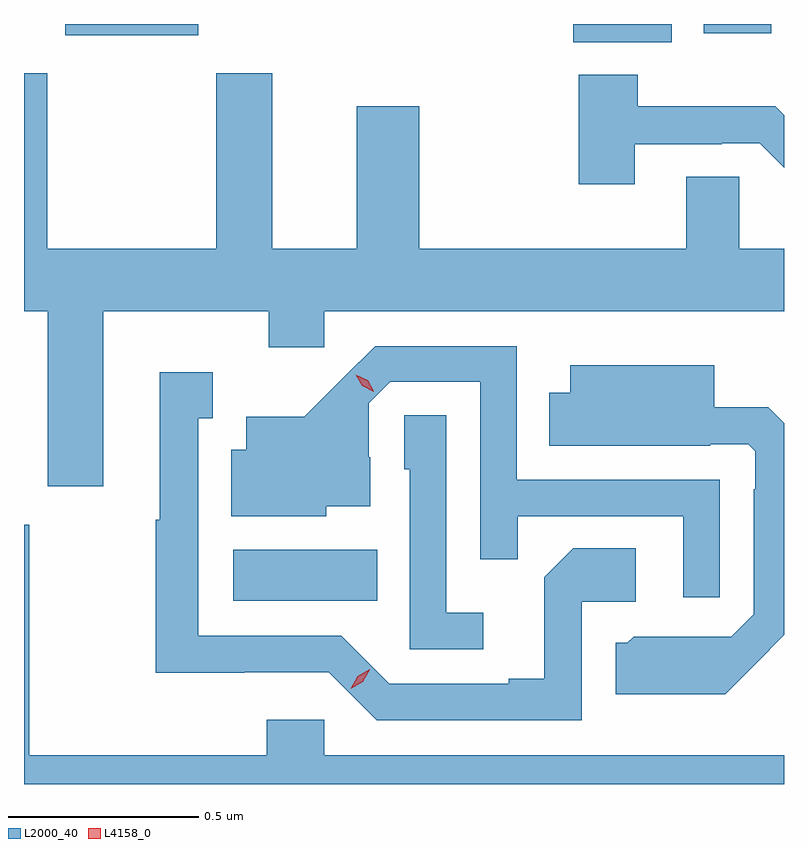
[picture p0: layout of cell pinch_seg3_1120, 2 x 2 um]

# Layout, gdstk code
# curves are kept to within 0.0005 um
import gdstk
lib = gdstk.Library(unit=1e-6, precision=1e-09)
def R(c, l, rs):  # rectangles x0, y0, x1, y1
    for r in rs: c.add(gdstk.rectangle(r[:2], r[2:], *l))
def P(c, l, *ps):  # polygons
    for p in ps: c.add(gdstk.Polygon(p, *l))
L2000_40 = (2000, 40)
L4158_0 = (4158, 0)

pinch_seg3_1120 = lib.new_cell('pinch_seg3_1120')
R(pinch_seg3_1120, L2000_40, [(332.514,697.49,332.894,697.624), (333.41,698.96,333.668,699.008), (332.072,698.978,332.422,699.008), (333.753,698.984,333.931,699.008)])
P(pinch_seg3_1120, L2000_40, [(332.173,698.252),(332.608,698.252),(332.608,698.157),(332.754,698.157),(332.754,698.252),(333.964,698.252),(333.964,698.416),(333.846,698.416),(333.846,698.606),(333.707,698.606),(333.707,698.416),(333.004,698.416),(333.004,698.791),(332.84,698.791),(332.84,698.416),(332.617,698.416),(332.617,698.878),(332.47,698.878),(332.47,698.416),(332.025,698.416),(332.025,698.878),(331.964,698.878),(331.964,698.252),(332.026,698.252),(332.026,697.791),(332.173,697.791)],
  [(333.571,698.691),(333.8,698.691),(333.8,698.694),(333.9,698.694),(333.964,698.63),(333.964,698.768),(333.941,698.791),(333.579,698.791),(333.579,698.875),(333.424,698.875),(333.424,698.586),(333.571,698.586)],
  [(333.795,697.809),(333.261,697.809),(333.261,698.16),(332.888,698.16),(332.701,697.975),(332.549,697.975),(332.549,697.888),(332.51,697.888),(332.51,697.712),(332.76,697.712),(332.76,697.739),(332.875,697.739),(332.875,697.868),(332.871,697.868),(332.871,698.01),(332.928,698.067),(333.165,698.067),(333.165,697.6),(333.263,697.6),(333.263,697.713),(333.699,697.713),(333.699,697.5),(333.795,697.5)],
  [(333.889,697.325),(333.964,697.401),(333.964,697.957),(333.922,697.999),(333.781,697.999),(333.781,698.11),(333.401,698.11),(333.401,698.038),(333.346,698.038),(333.346,697.898),(333.77,697.898),(333.77,697.902),(333.87,697.902),(333.888,697.884),(333.888,697.784),(333.885,697.784),(333.885,697.455),(333.825,697.395),(333.702,697.395),(333.702,697.396),(333.568,697.396),(333.552,697.38),(333.521,697.38),(333.521,697.244),(333.809,697.244)],
  [(333.432,697.488),(333.574,697.488),(333.574,697.628),(333.409,697.628),(333.333,697.552),(333.333,697.285),(333.239,697.285),(333.239,697.272),(332.925,697.272),(332.799,697.398),(332.422,697.398),(332.422,697.971),(332.461,697.971),(332.461,698.092),(332.321,698.092),(332.321,697.703),(332.311,697.703),(332.311,697.301),(332.544,697.301),(332.544,697.302),(332.766,697.302),(332.892,697.176),(333.432,697.176)],
  [(333.172,697.459),(333.075,697.459),(333.075,697.979),(332.964,697.979),(332.964,697.836),(332.979,697.836),(332.979,697.362),(333.172,697.362)],
  [(333.964,697.084),(332.754,697.084),(332.754,697.177),(332.603,697.177),(332.603,697.084),(331.978,697.084),(331.978,697.69),(331.964,697.69),(331.964,697.008),(333.964,697.008)])
P(pinch_seg3_1120, L4158_0, [(332.885,698.04),(332.854,698.056),(332.837,698.085),(332.837,698.085),(332.837,698.085),(332.868,698.07),(332.885,698.041),(332.885,698.04)],
  [(332.824,697.259),(332.824,697.259),(332.842,697.291),(332.874,697.31),(332.874,697.31),(332.874,697.309),(332.856,697.277),(332.824,697.259)])

lib.write_gds('pinch_seg3_1120.gds')
